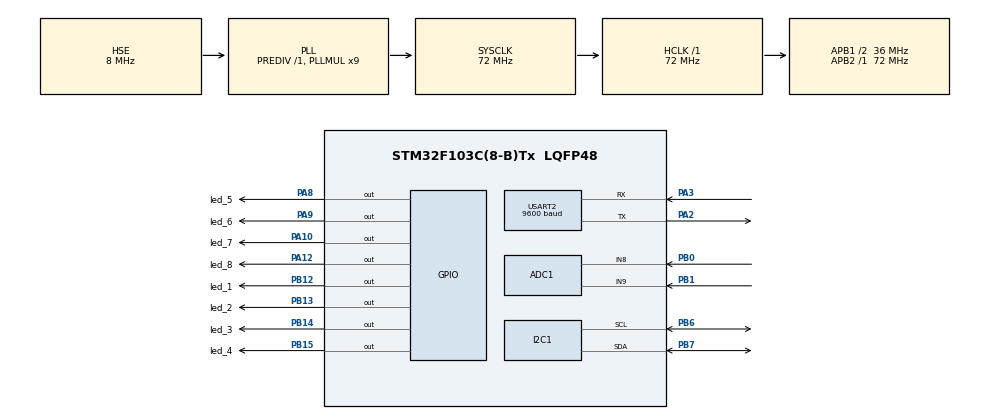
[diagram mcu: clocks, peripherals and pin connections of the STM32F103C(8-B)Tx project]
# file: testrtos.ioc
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ADC1.Channel-0\#ChannelRegularConversion=ADC_CHANNEL_TEMPSENSOR
ADC1.Channel-1\#ChannelRegularConversion=ADC_CHANNEL_8
ADC1.Channel-2\#ChannelRegularConversion=ADC_CHANNEL_9
ADC1.NbrOfConversion=3
ADC1.NbrOfConversionFlag=1
ADC1.Rank-0\#ChannelRegularConversion=1
ADC1.Rank-1\#ChannelRegularConversion=2
ADC1.Rank-2\#ChannelRegularConversion=3
ADC1.SamplingTime-0\#ChannelRegularConversion=ADC_SAMPLETIME_1CYCLE_5
ADC1.SamplingTime-1\#ChannelRegularConversion=ADC_SAMPLETIME_1CYCLE_5
ADC1.SamplingTime-2\#ChannelRegularConversion=ADC_SAMPLETIME_1CYCLE_5
ADC1.master=1
FREERTOS.Mutexes01=myMutex01,Dynamic,NULL
FREERTOS.Tasks01=defaultTask,-3,128,StartDefaultTask,Default,NULL,Dynamic,NULL,NULL;myTask02,3,128,StartTask02,Default,NULL,Dynamic,NULL,NULL;myTask03,0,128,StartTask03,Default,NULL,Dynamic,NULL,NULL
FREERTOS.configTOTAL_HEAP_SIZE=10000
Mcu.Family=STM32F1
Mcu.Name=STM32F103C(8-B)Tx
Mcu.Package=LQFP48
NVIC.PriorityGroup=NVIC_PRIORITYGROUP_4
PA10.GPIO_Label=led_7
PA10.Signal=GPIO_Output
PA12.GPIO_Label=led_8
PA12.Signal=GPIO_Output
PA13.Mode=Serial_Wire
PA13.Signal=SYS_JTMS-SWDIO
PA14.Mode=Serial_Wire
PA14.Signal=SYS_JTCK-SWCLK
PA2.Mode=Asynchronous
PA2.Signal=USART2_TX
PA3.Mode=Asynchronous
PA3.Signal=USART2_RX
PA8.GPIO_Label=led_5
PA8.Signal=GPIO_Output
PA9.GPIO_Label=led_6
PA9.Signal=GPIO_Output
PB0.Signal=ADCx_IN8
PB1.Signal=ADCx_IN9
PB12.GPIO_Label=led_1
PB12.Signal=GPIO_Output
PB13.GPIO_Label=led_2
PB13.Signal=GPIO_Output
PB14.GPIO_Label=led_3
PB14.Signal=GPIO_Output
PB15.GPIO_Label=led_4
PB15.Signal=GPIO_Output
PB6.Mode=I2C
PB6.Signal=I2C1_SCL
PB7.Mode=I2C
PB7.Signal=I2C1_SDA
PD0-OSC_IN.Mode=HSE-External-Oscillator
PD0-OSC_IN.Signal=RCC_OSC_IN
PD1-OSC_OUT.Mode=HSE-External-Oscillator
PD1-OSC_OUT.Signal=RCC_OSC_OUT
ProjectManager.HeapSize=0x200
ProjectManager.StackSize=0x400
ProjectManager.TargetToolchain=Makefile
RCC.ADCPresc=RCC_ADCPCLK2_DIV6
RCC.AHBFreq_Value=72000000
RCC.APB1CLKDivider=RCC_HCLK_DIV2
RCC.APB1Freq_Value=36000000
RCC.APB1TimFreq_Value=72000000
RCC.APB2Freq_Value=72000000
RCC.APB2TimFreq_Value=72000000
RCC.HCLKFreq_Value=72000000
RCC.PLLMUL=RCC_PLL_MUL9
RCC.PLLSourceVirtual=RCC_PLLSOURCE_HSE
RCC.SYSCLKFreq_VALUE=72000000
RCC.SYSCLKSource=RCC_SYSCLKSOURCE_PLLCLK
RCC.USBFreq_Value=72000000
SH.ADCx_IN8.0=ADC1_IN8,IN8
SH.ADCx_IN9.0=ADC1_IN9,IN9
USART2.BaudRate=9600
USART2.VirtualMode=VM_ASYNC
VP_ADC1_TempSens_Input.Mode=IN-TempSens
VP_FREERTOS_VS_CMSIS_V1.Mode=CMSIS_V1
board=custom

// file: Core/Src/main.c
/* USER CODE BEGIN Header */
/**
  ******************************************************************************
  * @file           : main.c
  * @brief          : Main program body
  ******************************************************************************
  * @attention
  *
  * Copyright (c) 2024 STMicroelectronics.
  * All rights reserved.
  *
  * This software is licensed under terms that can be found in the LICENSE file
  * in the root directory of this software component.
  * If no LICENSE file comes with this software, it is provided AS-IS.
  *
  ******************************************************************************
  */
/* USER CODE END Header */
#include "main.h"
#include "cmsis_os.h"

/* USER CODE BEGIN Includes */
#include "stdio.h"
#include "string.h"
#include "stdbool.h"
/* USER CODE END Includes */

ADC_HandleTypeDef hadc1;

I2C_HandleTypeDef hi2c1;

UART_HandleTypeDef huart2;

osThreadId defaultTaskHandle;
osThreadId myTask02Handle;
osThreadId myTask03Handle;
osMutexId myMutex01Handle;

void SystemClock_Config(void);
static void MX_GPIO_Init(void);
static void MX_ADC1_Init(void);
static void MX_I2C1_Init(void);
static void MX_USART2_UART_Init(void);
void StartDefaultTask(void const * argument);
void StartTask02(void const * argument);
void StartTask03(void const * argument);

/* USER CODE BEGIN 0 */
bool adc_flag = 0;
uint32_t adcValue;
void HAL_ADC_ConvCpltCallback(ADC_HandleTypeDef* hadc)
{
    if (hadc->Instance == ADC1)
    {
		adc_flag = 1;
        adcValue = HAL_ADC_GetValue(hadc);
		HAL_ADC_Start_IT(&hadc1);
	}
}

const uint8_t DS1307_ADDRESS_WRITE =  0xD0;
const uint8_t DS1307_ADDRESS_READ =  0xD1;
const uint8_t LCD_ADDRESS = 0x4E;
uint8_t res[50];

uint8_t data_buffer[50];
uint8_t data_receive;

uint32_t last_time_IT = 0;

GPIO_TypeDef* led_port[] = {led_1_GPIO_Port, led_2_GPIO_Port, led_3_GPIO_Port, led_4_GPIO_Port,
		  led_5_GPIO_Port,led_6_GPIO_Port,led_7_GPIO_Port,led_8_GPIO_Port};

uint16_t led_pin[] = {led_1_Pin, led_2_Pin, led_3_Pin, led_4_Pin, led_5_Pin, led_6_Pin,
		  led_7_Pin,led_8_Pin};

void Binary_Count_Up(GPIO_TypeDef* listport[], uint16_t listpin[])
{

	for(uint8_t count = 0; count < 256; count++)
	{
		for(int led = 0 ; led < 8; led++)
		{
			if(count & (1 << led))
			{
				HAL_GPIO_WritePin(listport[led], listpin[led],1);
			}else
			{
				HAL_GPIO_WritePin(listport[led], listpin[led],0);
			}
		}
		osDelay(1000);
	}
}

void get_adc_value(uint16_t adc_val[]) {
  int chanel = 0;
  while (1) {
    HAL_ADC_Start(&hadc1);
    HAL_ADC_PollForConversion(&hadc1, 10);
    adc_val[chanel] = HAL_ADC_GetValue(&hadc1);
    chanel++;
    if (chanel == 3) {
      return;
    }
    osDelay(10);
  }
}

uint8_t Dec_to_BCD(uint8_t dec)
{
	dec = ((dec / 10) << 4) | (dec % 10);

    return dec;
}

uint8_t BCD_to_Dec(uint8_t bcd)
{
	bcd = ((bcd >> 4) * 10) + (bcd & 0x0F);

    return bcd;
}
void DS1307_SetTime(uint8_t hours, uint8_t minutes, uint8_t seconds)
{
    uint8_t data[4];

	data[0] = 0x00;
    data[1] = Dec_to_BCD(seconds);
	data[2] = Dec_to_BCD(minutes);
    data[3] = Dec_to_BCD(hours);

	HAL_I2C_Master_Transmit(&hi2c1,DS1307_ADDRESS_WRITE , &data[0], 4, 100);

}

void DS1307_SetDate(uint8_t day, uint8_t month, uint16_t year)
{
    uint8_t data[4];

	data[0] = 0x04;
    data[1] = Dec_to_BCD(day);
    data[2] = Dec_to_BCD(month);
	data[3] = Dec_to_BCD(year);

	HAL_I2C_Master_Transmit(&hi2c1, DS1307_ADDRESS_WRITE , &data[0], 4, 100);
}

void DS1307_GetTime(uint8_t *hours, uint8_t *minutes, uint8_t *seconds)
{
    uint8_t data[3];
	uint8_t reg = 0x00;

	HAL_I2C_Master_Transmit(&hi2c1, DS1307_ADDRESS_WRITE , &reg, 1, 10);
	HAL_I2C_Master_Receive(&hi2c1, DS1307_ADDRESS_READ, &data[0], 3, 50);
    *seconds = BCD_to_Dec(data[0]);
	*minutes = BCD_to_Dec(data[1]);
    *hours   = BCD_to_Dec(data[2]);
}

void DS1307_GetDate(uint8_t *day, uint8_t *month, uint16_t *year)
{
    uint8_t data[3];
	uint8_t reg = 0x04;

	HAL_I2C_Master_Transmit(&hi2c1, DS1307_ADDRESS_WRITE,&reg, 1, 100);
	HAL_I2C_Master_Receive(&hi2c1, DS1307_ADDRESS_READ, &data[0], 3, 100);
    *day    = BCD_to_Dec(data[0]);
    *month  = BCD_to_Dec(data[1]);
    *year   = 2000 + BCD_to_Dec(data[2]);
}

void lcd_write_nibble(uint8_t rs, uint8_t data)
{
	uint8_t dat_lcd;

	dat_lcd = ((data << 4) & 0xF0) | 0x0C | rs;
	HAL_I2C_Master_Transmit(&hi2c1, LCD_ADDRESS, &dat_lcd, 1, 20);

	dat_lcd = ((data << 4) & 0xF0) | 0x08 | rs;
	HAL_I2C_Master_Transmit(&hi2c1, LCD_ADDRESS, &dat_lcd, 1, 20);

}

void lcd_send_cmd(uint8_t cmd)
{
	lcd_write_nibble(0, (cmd>>4)&0x0F);
	lcd_write_nibble(0, cmd&0x0F);

	HAL_Delay(2);
}

void lcd_send_data(uint8_t data)
{
	lcd_write_nibble(1, (data>>4)&0x0F);
	lcd_write_nibble(1, data & 0x0F);

	HAL_Delay(2);
}

void lcd_init(void)
{
	HAL_Delay(20);

	lcd_write_nibble(0, 0x03); HAL_Delay(5);
	lcd_write_nibble(0, 0x03); HAL_Delay(1);
	lcd_write_nibble(0, 0x03); HAL_Delay(1);

	lcd_write_nibble(0, 0x02); HAL_Delay(1);

	lcd_send_cmd(0x28);
	lcd_send_cmd(0x0C);
	lcd_send_cmd(0x01);
	lcd_send_cmd(0x06);
}

void lcd_send_string(char *data)
{
	while(*data)
	{

		lcd_send_data(*data++);
	}
}

void lcd_gotoxy(uint8_t row, uint8_t col)
{
	uint8_t coordinates = 0;

	switch(row)
	{
	case 0:
		coordinates = 0x80 | col;
		break;
	case 1:
		coordinates = 0xC0 | col;
		break;
	}
	lcd_send_cmd(coordinates);
}

void lcd_clear(void)
{
    lcd_send_cmd(0x01);
	HAL_Delay(2);
}

osMutexId lcdMutexHandle;
void LCD_Write(int row, int col, char* data)
{
	if (osMutexWait(lcdMutexHandle, osWaitForever) == osOK)
	{
		lcd_gotoxy(row, col);
		lcd_send_string(data);
			osMutexRelease(lcdMutexHandle);
	}
}

/* USER CODE END 0 */

int main(void)
{

  /* MCU Configuration--------------------------------------------------------*/

  /* Reset of all peripherals, Initializes the Flash interface and the Systick. */
  HAL_Init();

  /* Configure the system clock */
  SystemClock_Config();

  /* Initialize all configured peripherals */
  MX_GPIO_Init();
  MX_ADC1_Init();
  MX_I2C1_Init();
  MX_USART2_UART_Init();
  /* USER CODE BEGIN 2 */
	lcd_init();
	lcd_clear();

  /* USER CODE END 2 */

  /* Create the mutex(es) */
  /* definition and creation of myMutex01 */
  osMutexDef(myMutex01);
  myMutex01Handle = osMutexCreate(osMutex(myMutex01));

  /* USER CODE BEGIN RTOS_MUTEX */
  /* add mutexes, ... */
	lcdMutexHandle = osMutexCreate(osMutex(myMutex01));
  /* USER CODE END RTOS_MUTEX */

  /* Create the thread(s) */
  /* definition and creation of defaultTask */
  osThreadDef(defaultTask, StartDefaultTask, osPriorityIdle, 0, 128);
  defaultTaskHandle = osThreadCreate(osThread(defaultTask), NULL);

  /* definition and creation of myTask02 */
  osThreadDef(myTask02, StartTask02, osPriorityRealtime, 0, 128);
  myTask02Handle = osThreadCreate(osThread(myTask02), NULL);

  /* definition and creation of myTask03 */
  osThreadDef(myTask03, StartTask03, osPriorityNormal, 0, 128);
  myTask03Handle = osThreadCreate(osThread(myTask03), NULL);

  /* Start scheduler */
  osKernelStart();

  /* We should never get here as control is now taken by the scheduler */
  /* Infinite loop */
  while (1)
  {

  }
}

void SystemClock_Config(void)
{
  RCC_OscInitTypeDef RCC_OscInitStruct = {0};
  RCC_ClkInitTypeDef RCC_ClkInitStruct = {0};
  RCC_PeriphCLKInitTypeDef PeriphClkInit = {0};

  /** Initializes the RCC Oscillators according to the specified parameters
  * in the RCC_OscInitTypeDef structure.
  */
  RCC_OscInitStruct.OscillatorType = RCC_OSCILLATORTYPE_HSE;
  RCC_OscInitStruct.HSEState = RCC_HSE_ON;
  RCC_OscInitStruct.HSEPredivValue = RCC_HSE_PREDIV_DIV1;
  RCC_OscInitStruct.HSIState = RCC_HSI_ON;
  RCC_OscInitStruct.PLL.PLLState = RCC_PLL_ON;
  RCC_OscInitStruct.PLL.PLLSource = RCC_PLLSOURCE_HSE;
  RCC_OscInitStruct.PLL.PLLMUL = RCC_PLL_MUL9;
  if (HAL_RCC_OscConfig(&RCC_OscInitStruct) != HAL_OK)
  {
    Error_Handler();
  }

  /** Initializes the CPU, AHB and APB buses clocks
  */
  RCC_ClkInitStruct.ClockType = RCC_CLOCKTYPE_HCLK|RCC_CLOCKTYPE_SYSCLK
                              |RCC_CLOCKTYPE_PCLK1|RCC_CLOCKTYPE_PCLK2;
  RCC_ClkInitStruct.SYSCLKSource = RCC_SYSCLKSOURCE_PLLCLK;
  RCC_ClkInitStruct.AHBCLKDivider = RCC_SYSCLK_DIV1;
  RCC_ClkInitStruct.APB1CLKDivider = RCC_HCLK_DIV2;
  RCC_ClkInitStruct.APB2CLKDivider = RCC_HCLK_DIV1;

  if (HAL_RCC_ClockConfig(&RCC_ClkInitStruct, FLASH_LATENCY_2) != HAL_OK)
  {
    Error_Handler();
  }
  PeriphClkInit.PeriphClockSelection = RCC_PERIPHCLK_ADC;
  PeriphClkInit.AdcClockSelection = RCC_ADCPCLK2_DIV6;
  if (HAL_RCCEx_PeriphCLKConfig(&PeriphClkInit) != HAL_OK)
  {
    Error_Handler();
  }
}

static void MX_ADC1_Init(void)
{

  ADC_ChannelConfTypeDef sConfig = {0};

  /** Common config
  */
  hadc1.Instance = ADC1;
  hadc1.Init.ScanConvMode = ADC_SCAN_ENABLE;
  hadc1.Init.ContinuousConvMode = DISABLE;
  hadc1.Init.DiscontinuousConvMode = DISABLE;
  hadc1.Init.ExternalTrigConv = ADC_SOFTWARE_START;
  hadc1.Init.DataAlign = ADC_DATAALIGN_RIGHT;
  hadc1.Init.NbrOfConversion = 3;
  if (HAL_ADC_Init(&hadc1) != HAL_OK)
  {
    Error_Handler();
  }

  /** Configure Regular Channel
  */
  sConfig.Channel = ADC_CHANNEL_TEMPSENSOR;
  sConfig.Rank = ADC_REGULAR_RANK_1;
  sConfig.SamplingTime = ADC_SAMPLETIME_1CYCLE_5;
  if (HAL_ADC_ConfigChannel(&hadc1, &sConfig) != HAL_OK)
  {
    Error_Handler();
  }

  /** Configure Regular Channel
  */
  sConfig.Channel = ADC_CHANNEL_8;
  sConfig.Rank = ADC_REGULAR_RANK_2;
  if (HAL_ADC_ConfigChannel(&hadc1, &sConfig) != HAL_OK)
  {
    Error_Handler();
  }

  /** Configure Regular Channel
  */
  sConfig.Channel = ADC_CHANNEL_9;
  sConfig.Rank = ADC_REGULAR_RANK_3;
  if (HAL_ADC_ConfigChannel(&hadc1, &sConfig) != HAL_OK)
  {
    Error_Handler();
  }

}

static void MX_I2C1_Init(void)
{

  hi2c1.Instance = I2C1;
  hi2c1.Init.ClockSpeed = 100000;
  hi2c1.Init.DutyCycle = I2C_DUTYCYCLE_2;
  hi2c1.Init.OwnAddress1 = 0;
  hi2c1.Init.AddressingMode = I2C_ADDRESSINGMODE_7BIT;
  hi2c1.Init.DualAddressMode = I2C_DUALADDRESS_DISABLE;
  hi2c1.Init.OwnAddress2 = 0;
  hi2c1.Init.GeneralCallMode = I2C_GENERALCALL_DISABLE;
  hi2c1.Init.NoStretchMode = I2C_NOSTRETCH_DISABLE;
  if (HAL_I2C_Init(&hi2c1) != HAL_OK)
  {
    Error_Handler();
  }

}

static void MX_USART2_UART_Init(void)
{

  huart2.Instance = USART2;
  huart2.Init.BaudRate = 9600;
  huart2.Init.WordLength = UART_WORDLENGTH_8B;
  huart2.Init.StopBits = UART_STOPBITS_1;
  huart2.Init.Parity = UART_PARITY_NONE;
  huart2.Init.Mode = UART_MODE_TX_RX;
  huart2.Init.HwFlowCtl = UART_HWCONTROL_NONE;
  huart2.Init.OverSampling = UART_OVERSAMPLING_16;
  if (HAL_UART_Init(&huart2) != HAL_OK)
  {
    Error_Handler();
  }

}

static void MX_GPIO_Init(void)
{
  GPIO_InitTypeDef GPIO_InitStruct = {0};

  /* GPIO Ports Clock Enable */
  __HAL_RCC_GPIOD_CLK_ENABLE();
  __HAL_RCC_GPIOA_CLK_ENABLE();
  __HAL_RCC_GPIOB_CLK_ENABLE();

  /*Configure GPIO pin Output Level */
  HAL_GPIO_WritePin(GPIOB, led_1_Pin|led_2_Pin|led_3_Pin|led_4_Pin, GPIO_PIN_RESET);

  /*Configure GPIO pin Output Level */
  HAL_GPIO_WritePin(GPIOA, led_5_Pin|led_6_Pin|led_7_Pin|led_8_Pin, GPIO_PIN_RESET);

  /*Configure GPIO pins : led_1_Pin led_2_Pin led_3_Pin led_4_Pin */
  GPIO_InitStruct.Pin = led_1_Pin|led_2_Pin|led_3_Pin|led_4_Pin;
  GPIO_InitStruct.Mode = GPIO_MODE_OUTPUT_PP;
  GPIO_InitStruct.Pull = GPIO_NOPULL;
  GPIO_InitStruct.Speed = GPIO_SPEED_FREQ_LOW;
  HAL_GPIO_Init(GPIOB, &GPIO_InitStruct);

  /*Configure GPIO pins : led_5_Pin led_6_Pin led_7_Pin led_8_Pin */
  GPIO_InitStruct.Pin = led_5_Pin|led_6_Pin|led_7_Pin|led_8_Pin;
  GPIO_InitStruct.Mode = GPIO_MODE_OUTPUT_PP;
  GPIO_InitStruct.Pull = GPIO_NOPULL;
  GPIO_InitStruct.Speed = GPIO_SPEED_FREQ_LOW;
  HAL_GPIO_Init(GPIOA, &GPIO_InitStruct);

}

void StartDefaultTask(void const * argument)
{
  /* USER CODE BEGIN 5 */

  /* Infinite loop */
  for(;;)
  {

	//Binary_Count_Up(led_port, led_pin);

  }
  /* USER CODE END 5 */
}

void StartTask02(void const * argument)
{
  /* USER CODE BEGIN StartTask02 */
	uint8_t data_trans[50];

	uint16_t t;
  /* Infinite loop */
  for(;;)
  {
	 HAL_ADC_Start(&hadc1);
	 HAL_ADC_PollForConversion(&hadc1,HAL_MAX_DELAY);
	 t = HAL_ADC_GetValue(&hadc1);
	sprintf((char*)data_trans, "temp: %d",(int)t);
	HAL_UART_Transmit(&huart2, &data_trans[0], strlen((char*)data_trans), 100);

	osDelay(1000);

  }
  /* USER CODE END StartTask02 */
}

void StartTask03(void const * argument)
{
  for(;;)
  {
    osDelay(1);
  }
}

void Error_Handler(void)
{
  __disable_irq();
  while (1)
  {
  }
}
